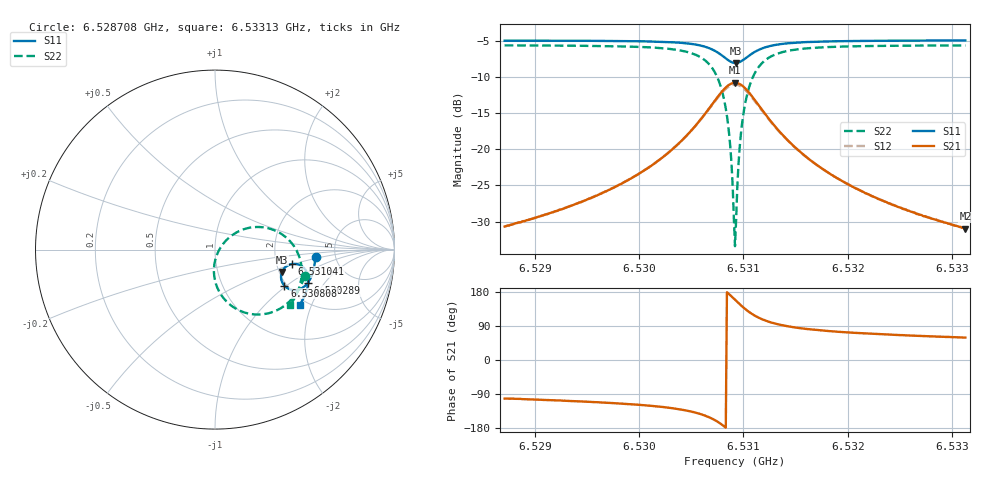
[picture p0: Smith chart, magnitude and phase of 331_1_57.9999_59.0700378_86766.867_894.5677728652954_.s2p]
#  HZ  S  RI  R  50.00
! Rohde & Schwarz Vector Network Analyzer
! Rohde-Schwarz,ZNB20-2Port,1311601062101988,3.16
! Created: UTC 3/21/2024, 1:05:06 AM
! freq[Hz]  re:S11  im:S11  re:S21  im:S21  re:S12  im:S12  re:S22  im:S22
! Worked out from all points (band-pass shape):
!   401 points, 6.528708 GHz to 6.53313 GHz, reference 50 ohm
!   highest |S21| = -10.83 dB at 6.530919 GHz (marker M1); lowest = -31.0 dB at 6.53313 GHz (marker M2)
!   |S21| within 3 dB of the highest: 6.530698 GHz to 6.531141 GHz (442.5 kHz wide, 0.00678 % of centre)
!   lowest |S11| = -8.1 dB at 6.53093 GHz (marker M3), VSWR 2.30, Z = 104 - j30.4 ohm
!   |S11| at or under -10 dB: nowhere
!   |S22| runs from -33.4 to -5.7 dB; largest |S21 - S12| = 0.011
!   S11 on the Smith chart (normalised r, x): 6.528708 GHz: 3.50, -0.43; 6.530289 GHz: 2.61, -1.39; 6.530808 GHz: 1.94, -0.97; 6.531041 GHz: 2.43, -0.48; 6.53313 GHz: 1.83, -1.65
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6.5287076e9  0.56 -0.0417  -0.00601 -0.0286  -0.00639 -0.0286  0.5003 -0.1461
6.5294484e9  0.5511 -0.1026  -0.0146 -0.0408  -0.0153 -0.0406  0.4718 -0.2133
6.5301892e9  0.5246 -0.174  -0.0457 -0.0704  -0.0476 -0.0693  0.3957 -0.3062
6.5302887e9  0.5169 -0.1854  -0.0566 -0.0772  -0.0586 -0.0757  0.3727 -0.3227
6.5306425e9  0.4543 -0.2251  -0.1525 -0.0955  -0.1546 -0.0894  0.1902 -0.3572
6.5307421e9  0.4155 -0.2209  -0.2126 -0.0722  -0.2123 -0.0636  0.0872 -0.3097
6.5308084e9  0.3867 -0.2011  -0.2555 -0.0281  -0.2514 -0.0188  0.0206 -0.2286
6.5308416e9  0.3752 -0.184  -0.2712 0.00558  -0.2648 0.0142  -0.000525 -0.1698
6.5308637e9  0.3701 -0.1703  -0.2769 0.0318  -0.2693 0.0395  -0.00603 -0.1252
6.5308747e9  0.3686 -0.1627  -0.2779 0.0458  -0.2697 0.0527  -0.00549 -0.1019
6.5308969e9  0.3679 -0.1472  -0.276 0.0744  -0.2668 0.0798  0.00216 -0.0551
6.5309079e9  0.3689 -0.1393  -0.273 0.0886  -0.2635 0.0932  0.00951 -0.032
6.530919e9  0.3709 -0.1316  -0.2685 0.1026  -0.2588 0.1064  0.019 -0.00976
6.53093e9  0.3733 -0.1242  -0.2627 0.116  -0.2529 0.119  0.0309 0.0115
6.5309743e9  0.3911 -0.0986  -0.2277 0.1614  -0.2189 0.1611  0.0954 0.08
6.5310074e9  0.4091 -0.0864  -0.1945 0.1833  -0.1871 0.1816  0.1539 0.1111
6.5310406e9  0.4283 -0.0802  -0.1603 0.195  -0.1545 0.1924  0.2126 0.1247
6.531118e9  0.4666 -0.0837  -0.0926 0.1931  -0.0897 0.1905  0.3265 0.1093
6.5312286e9  0.499 -0.1062  -0.0358 0.1635  -0.0343 0.1622  0.4191 0.0455
6.5316598e9  0.5204 -0.1819  0.0139 0.0809  0.0148 0.0807  0.4833 -0.1302
6.5324006e9  0.5002 -0.2545  0.0166 0.0388  0.0171 0.0387  0.4556 -0.2458
6.5331304e9  0.4722 -0.3078  0.0145 0.0243  0.015 0.0242  0.4204 -0.3077
